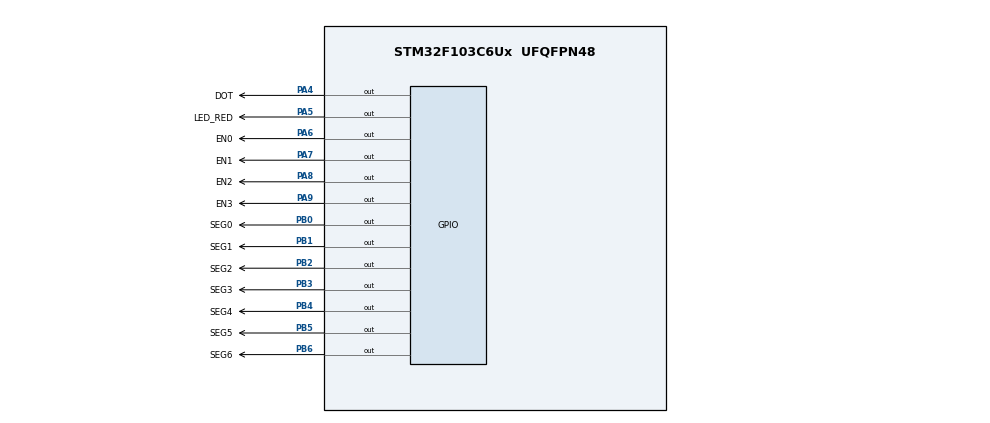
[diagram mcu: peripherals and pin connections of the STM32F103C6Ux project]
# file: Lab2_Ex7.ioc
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Mcu.Family=STM32F1
Mcu.Name=STM32F103C6Ux
Mcu.Package=UFQFPN48
NVIC.PriorityGroup=NVIC_PRIORITYGROUP_4
NVIC.TIM2_IRQn=true\:0\:0\:false\:false\:true\:true\:true
PA4.GPIO_Label=DOT
PA4.Signal=GPIO_Output
PA5.GPIO_Label=LED_RED
PA5.Signal=GPIO_Output
PA6.GPIO_Label=EN0
PA6.Signal=GPIO_Output
PA7.GPIO_Label=EN1
PA7.Signal=GPIO_Output
PA8.GPIO_Label=EN2
PA8.Signal=GPIO_Output
PA9.GPIO_Label=EN3
PA9.Signal=GPIO_Output
PB0.GPIO_Label=SEG0
PB0.Signal=GPIO_Output
PB1.GPIO_Label=SEG1
PB1.Signal=GPIO_Output
PB2.GPIO_Label=SEG2
PB2.Signal=GPIO_Output
PB3.GPIO_Label=SEG3
PB3.Signal=GPIO_Output
PB4.GPIO_Label=SEG4
PB4.Signal=GPIO_Output
PB5.GPIO_Label=SEG5
PB5.Signal=GPIO_Output
PB6.GPIO_Label=SEG6
PB6.Signal=GPIO_Output
ProjectManager.HeapSize=0x200
ProjectManager.StackSize=0x400
ProjectManager.TargetToolchain=STM32CubeIDE
RCC.APB1Freq_Value=8000000
RCC.APB2Freq_Value=8000000
TIM2.Period=7999
TIM2.Prescaler=9
VP_SYS_VS_ND.Mode=No_Debug
VP_TIM2_VS_ClockSourceINT.Mode=Internal
board=custom

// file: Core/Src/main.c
/* USER CODE BEGIN Header */
/**
  ******************************************************************************
  * @file           : main.c
  * @brief          : Main program body
  ******************************************************************************
  * @attention
  *
  * <h2><center>&copy; Copyright (c) 2023 STMicroelectronics.
  * All rights reserved.</center></h2>
  *
  * This software component is licensed by ST under BSD 3-Clause license,
  * the "License"; You may not use this file except in compliance with the
  * License. You may obtain a copy of the License at:
  *                        opensource.org/licenses/BSD-3-Clause
  *
  ******************************************************************************
  */
/* USER CODE END Header */
#include "main.h"

/* USER CODE BEGIN Includes */
#include "7SEG.h"
#include "InitState.h"
#include "update7SEG.h"
/* USER CODE END Includes */

TIM_HandleTypeDef htim2;

void SystemClock_Config(void);
static void MX_GPIO_Init(void);
static void MX_TIM2_Init(void);

/* USER CODE BEGIN 0 */
int hour = 15, minute = 8, second = 50;
void updateClockBuffer()
{
	led_buffer[0] = hour/10;
	led_buffer[1] = hour%10;
	led_buffer[2] = minute/10;
	led_buffer[3] = minute%10;
}

int timer0_counter = 0;
int timer0_flag = 0;
int TIMER_CYCLE = 10;
void setTimer0(int duration)
{
	timer0_counter = duration/TIMER_CYCLE;
	timer0_flag = 0;
}
void timer_run()
{
	if(timer0_counter > 0)
	{
		timer0_counter --;
		if(timer0_counter == 0) timer0_flag = 1;
	}
}
int timerScan_counter = 0;
int timerScan_flag = 0;
void setTimer_scan(int duration)
{
	timerScan_counter = duration/TIMER_CYCLE;
	timerScan_flag = 0;
}
void TimerScan_run()
{
	if(timerScan_counter > 0)
	{
		timerScan_counter--;
		if(timerScan_counter == 0) timerScan_flag = 1;
	}
}
/* USER CODE END 0 */

int main(void)
{

  /* MCU Configuration--------------------------------------------------------*/

  /* Reset of all peripherals, Initializes the Flash interface and the Systick. */
  HAL_Init();

  /* Configure the system clock */
  SystemClock_Config();

  /* Initialize all configured peripherals */
  MX_GPIO_Init();
  MX_TIM2_Init();
  /* USER CODE BEGIN 2 */
  HAL_TIM_Base_Start_IT(&htim2);
  initState();
  int counter = 4;
  int sec_flag = 1;
  setTimer_scan(10);
  /* USER CODE END 2 */

  /* Infinite loop */
  /* USER CODE BEGIN WHILE */
  while (1)
  {
	  if(sec_flag == 1)
	  {
		  second++;
		  	  if(second >= 60){
		  		  second = 0;
		  		  minute++;
		  	  }
		  	  if(minute >= 60){
		  		  minute = 0;
		  		  hour++;
		  	  }
		  	  if(hour >= 24)
		  	  {
		  		  hour = 0;
		  	  }
		  	  updateClockBuffer();
		  	  sec_flag = 0;
	  }
	  if(timerScan_flag == 1)
	  {
		  counter--;
		  if(counter <= 0)
		  {
			sec_flag = 1;
			counter = 4;
			update7SEG(index_led++);
			index_led = 0;
			HAL_GPIO_TogglePin(LED_RED_GPIO_Port, LED_RED_Pin);
			HAL_GPIO_TogglePin(DOT_GPIO_Port, DOT_Pin);
		  }
		  else
		  {
			  update7SEG(index_led++);
		  }
		  setTimer_scan(250);
	  }
    /* USER CODE END WHILE */

  }
}

void SystemClock_Config(void)
{
  RCC_OscInitTypeDef RCC_OscInitStruct = {0};
  RCC_ClkInitTypeDef RCC_ClkInitStruct = {0};

  /** Initializes the RCC Oscillators according to the specified parameters
  * in the RCC_OscInitTypeDef structure.
  */
  RCC_OscInitStruct.OscillatorType = RCC_OSCILLATORTYPE_HSI;
  RCC_OscInitStruct.HSIState = RCC_HSI_ON;
  RCC_OscInitStruct.HSICalibrationValue = RCC_HSICALIBRATION_DEFAULT;
  RCC_OscInitStruct.PLL.PLLState = RCC_PLL_NONE;
  if (HAL_RCC_OscConfig(&RCC_OscInitStruct) != HAL_OK)
  {
    Error_Handler();
  }
  /** Initializes the CPU, AHB and APB buses clocks
  */
  RCC_ClkInitStruct.ClockType = RCC_CLOCKTYPE_HCLK|RCC_CLOCKTYPE_SYSCLK
                              |RCC_CLOCKTYPE_PCLK1|RCC_CLOCKTYPE_PCLK2;
  RCC_ClkInitStruct.SYSCLKSource = RCC_SYSCLKSOURCE_HSI;
  RCC_ClkInitStruct.AHBCLKDivider = RCC_SYSCLK_DIV1;
  RCC_ClkInitStruct.APB1CLKDivider = RCC_HCLK_DIV1;
  RCC_ClkInitStruct.APB2CLKDivider = RCC_HCLK_DIV1;

  if (HAL_RCC_ClockConfig(&RCC_ClkInitStruct, FLASH_LATENCY_0) != HAL_OK)
  {
    Error_Handler();
  }
}

static void MX_TIM2_Init(void)
{

  TIM_ClockConfigTypeDef sClockSourceConfig = {0};
  TIM_MasterConfigTypeDef sMasterConfig = {0};

  htim2.Instance = TIM2;
  htim2.Init.Prescaler = 9;
  htim2.Init.CounterMode = TIM_COUNTERMODE_UP;
  htim2.Init.Period = 7999;
  htim2.Init.ClockDivision = TIM_CLOCKDIVISION_DIV1;
  htim2.Init.AutoReloadPreload = TIM_AUTORELOAD_PRELOAD_DISABLE;
  if (HAL_TIM_Base_Init(&htim2) != HAL_OK)
  {
    Error_Handler();
  }
  sClockSourceConfig.ClockSource = TIM_CLOCKSOURCE_INTERNAL;
  if (HAL_TIM_ConfigClockSource(&htim2, &sClockSourceConfig) != HAL_OK)
  {
    Error_Handler();
  }
  sMasterConfig.MasterOutputTrigger = TIM_TRGO_RESET;
  sMasterConfig.MasterSlaveMode = TIM_MASTERSLAVEMODE_DISABLE;
  if (HAL_TIMEx_MasterConfigSynchronization(&htim2, &sMasterConfig) != HAL_OK)
  {
    Error_Handler();
  }

}

static void MX_GPIO_Init(void)
{
  GPIO_InitTypeDef GPIO_InitStruct = {0};

  /* GPIO Ports Clock Enable */
  __HAL_RCC_GPIOA_CLK_ENABLE();
  __HAL_RCC_GPIOB_CLK_ENABLE();

  /*Configure GPIO pin Output Level */
  HAL_GPIO_WritePin(GPIOA, DOT_Pin|LED_RED_Pin|EN0_Pin|EN1_Pin
                          |EN2_Pin|EN3_Pin, GPIO_PIN_RESET);

  /*Configure GPIO pin Output Level */
  HAL_GPIO_WritePin(GPIOB, SEG0_Pin|SEG1_Pin|SEG2_Pin|SEG3_Pin
                          |SEG4_Pin|SEG5_Pin|SEG6_Pin, GPIO_PIN_RESET);

  /*Configure GPIO pins : DOT_Pin LED_RED_Pin EN0_Pin EN1_Pin
                           EN2_Pin EN3_Pin */
  GPIO_InitStruct.Pin = DOT_Pin|LED_RED_Pin|EN0_Pin|EN1_Pin
                          |EN2_Pin|EN3_Pin;
  GPIO_InitStruct.Mode = GPIO_MODE_OUTPUT_PP;
  GPIO_InitStruct.Pull = GPIO_NOPULL;
  GPIO_InitStruct.Speed = GPIO_SPEED_FREQ_LOW;
  HAL_GPIO_Init(GPIOA, &GPIO_InitStruct);

  /*Configure GPIO pins : SEG0_Pin SEG1_Pin SEG2_Pin SEG3_Pin
                           SEG4_Pin SEG5_Pin SEG6_Pin */
  GPIO_InitStruct.Pin = SEG0_Pin|SEG1_Pin|SEG2_Pin|SEG3_Pin
                          |SEG4_Pin|SEG5_Pin|SEG6_Pin;
  GPIO_InitStruct.Mode = GPIO_MODE_OUTPUT_PP;
  GPIO_InitStruct.Pull = GPIO_NOPULL;
  GPIO_InitStruct.Speed = GPIO_SPEED_FREQ_LOW;
  HAL_GPIO_Init(GPIOB, &GPIO_InitStruct);

}

/* USER CODE BEGIN 4 */
int counter = 100;
void HAL_TIM_PeriodElapsedCallback(TIM_HandleTypeDef *htim)
{
	TimerScan_run();
//	counter--;
//	if(counter <= 0)
//	{
//		counter = 100;
//		update7SEG(index_led++);
//		index_led = 0;
//		HAL_GPIO_TogglePin(LED_RED_GPIO_Port, LED_RED_Pin);
//		HAL_GPIO_TogglePin(DOT_GPIO_Port, DOT_Pin);
//	}
//	if(counter == 75)
//	{
//		update7SEG(index_led++);
//	}
//	if(counter == 50)
//	{
//		update7SEG(index_led++);
//	}
//	if(counter == 25)
//	{
//		update7SEG(index_led++);
//	}
}
/* USER CODE END 4 */

void Error_Handler(void)
{
  __disable_irq();
  while (1)
  {
  }
}

/************************ (C) COPYRIGHT STMicroelectronics *****END OF FILE****/
